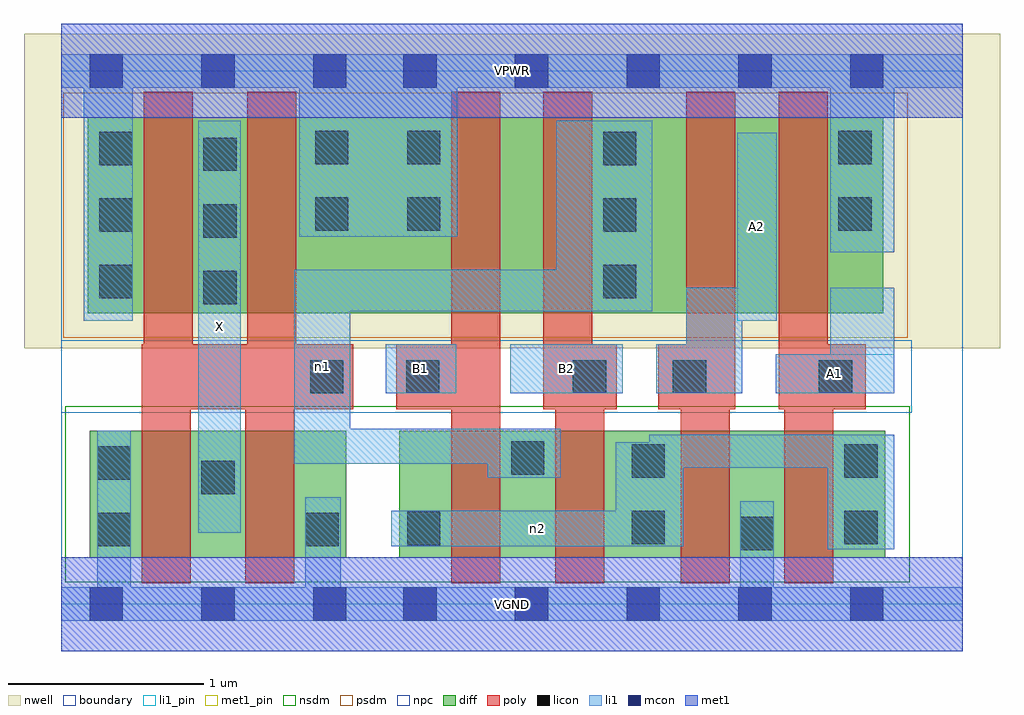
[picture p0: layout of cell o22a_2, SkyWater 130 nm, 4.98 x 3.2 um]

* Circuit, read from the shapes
.subckt o22a_2 A1 A2 B1 B2 VGND VPWR X n1 n2
XM1 X n1 VGND VSUBS sky130_fd_pr__nfet_01v8 w=0.65 l=0.25 m=2
XM2 n1 B1 n2 VSUBS sky130_fd_pr__nfet_01v8 w=0.65 l=0.25
XM3 n2 B2 n1 VSUBS sky130_fd_pr__nfet_01v8 w=0.65 l=0.25
XM4 VGND A2 n2 VSUBS sky130_fd_pr__nfet_01v8 w=0.65 l=0.25
XM5 n2 A1 VGND VSUBS sky130_fd_pr__nfet_01v8 w=0.65 l=0.25
XM6 X n1 VPWR n3 sky130_fd_pr__pfet_01v8 w=1 l=0.25 m=2
XM7 n4 B1 VPWR n3 sky130_fd_pr__pfet_01v8 w=1 l=0.25
XM8 n1 B2 n4 n3 sky130_fd_pr__pfet_01v8 w=1 l=0.25
XM9 n5 A2 n1 n3 sky130_fd_pr__pfet_01v8 w=1 l=0.25
XM10 VPWR A1 n5 n3 sky130_fd_pr__pfet_01v8 w=1 l=0.25
.ends

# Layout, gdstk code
import gdstk
lib = gdstk.Library(unit=1e-6, precision=1e-09)
def R(c, l, rs):  # rectangles x0, y0, x1, y1
    for r in rs: c.add(gdstk.rectangle(r[:2], r[2:], *l))
def A(c, l, x, y, w, h, nx, ny, dx, dy):  # array of equal rectangles
    R(c, l, [(x+i*dx, y+j*dy, x+i*dx+w, y+j*dy+h) for i in range(nx) for j in range(ny)])
nwell = (64, 20)
diff = (65, 20)
poly = (66, 20)
licon = (66, 44)
li1_pin = (67, 16)
li1 = (67, 20)
mcon = (67, 44)
met1_pin = (68, 16)
met1 = (68, 20)
nsdm = (93, 44)
psdm = (94, 20)
npc = (95, 20)
boundary = (235, 4)

o22a_2 = lib.new_cell('o22a_2')
R(o22a_2, nwell, [(-0.19,1.305,4.79,2.91), (0,1.305,4.6,2.91)])
R(o22a_2, diff, [(0.145,0.235,1.455,0.885), (1.725,0.235,4.205,0.885), (0.135,1.485,4.195,2.485)])
R(o22a_2, poly, [(0.41,0.105,0.66,1.325), (0.94,0.105,1.19,1.325), (1.99,0.105,2.24,2.615), (2.52,0.105,2.77,1.325), (3.16,0.105,3.41,1.325), (3.69,0.105,3.94,1.325), (0.41,0.995,1.49,1.325), (0.42,0.995,0.67,2.615), (0.95,0.995,1.2,2.615), (1.71,0.995,2.24,1.325), (2.46,0.995,2.71,2.615), (2.46,0.995,2.835,1.325), (3.045,0.995,3.44,1.325), (3.19,0.995,3.44,2.615), (3.66,0.995,3.91,2.615), (3.66,0.995,4.105,1.325)])
A(o22a_2, licon, 0.725, 1.53, 0.17, 0.17, 1, 3, 0, 0.34)
A(o22a_2, licon, 0.195, 1.56, 0.17, 0.17, 1, 3, 0, 0.34)
A(o22a_2, licon, 2.765, 1.56, 0.17, 0.17, 1, 3, 0, 0.34)
R(o22a_2, licon, [(3.465,0.275,3.635,0.445), (0.185,0.295,0.355,0.465), (1.245,0.295,1.415,0.465), (1.765,0.3,1.935,0.47), (2.91,0.305,3.08,0.475), (3.995,0.305,4.165,0.475), (0.715,0.56,0.885,0.73), (0.185,0.635,0.355,0.805), (2.91,0.645,3.08,0.815), (3.995,0.645,4.165,0.815), (2.295,0.66,2.465,0.83), (1.27,1.075,1.44,1.245), (1.76,1.075,1.93,1.245), (2.61,1.075,2.78,1.245), (3.12,1.075,3.29,1.245), (3.865,1.075,4.035,1.245), (1.295,1.905,1.465,2.075), (1.765,1.905,1.935,2.075), (3.965,1.905,4.135,2.075), (1.295,2.245,1.465,2.415), (1.765,2.245,1.935,2.415), (3.965,2.245,4.135,2.415)])
R(o22a_2, li1_pin, [(0.7,0.365,0.915,2.465), (1.655,1.075,2.015,1.325), (2.29,1.075,2.865,1.325), (3.645,1.075,4.25,1.275), (3.45,1.445,3.65,2.405)])
R(o22a_2, li1, [(0,-0.085,4.6,0.085), (0.185,-0.085,0.355,0.885), (1.245,-0.085,1.425,0.545), (3.465,-0.085,3.635,0.525), (3.91,0.28,4.25,0.865), (1.685,0.295,3.175,0.475), (2.83,0.295,3.175,0.825), (0.7,0.365,0.915,2.465), (2.175,0.645,2.55,0.895), (3,0.695,4.25,0.865), (1.19,0.715,1.475,1.705), (1.19,0.715,2.55,0.895), (1.655,1.075,2.015,1.325), (2.29,1.075,2.865,1.325), (3.035,1.075,3.475,1.325), (3.19,1.075,3.475,1.615), (3.645,1.075,4.25,1.275), (3.925,1.075,4.25,1.615), (0.115,1.445,0.365,2.805), (3.45,1.445,3.65,2.405), (1.19,1.495,3.015,1.705), (2.525,1.495,3.015,2.465), (3.925,1.795,4.25,2.805), (1.215,1.875,2.02,2.805), (0,2.635,4.6,2.805)])
A(o22a_2, mcon, 0.145, -0.085, 0.17, 0.17, 3, 2, 0.57, 2.72)
A(o22a_2, mcon, 1.745, -0.085, 0.17, 0.17, 5, 2, 0.57, 2.72)
R(o22a_2, met1_pin, [(0,-0.24,4.6,0.24), (0,2.48,4.6,2.96)])
R(o22a_2, met1, [(0,-0.24,4.6,0.24), (0,2.48,4.6,2.96)])
R(o22a_2, nsdm, [(0.02,0.11,4.33,1.01)])
R(o22a_2, psdm, [(0.01,1.36,4.32,2.61)])
R(o22a_2, npc, [(0,0.975,4.34,1.345)])
R(o22a_2, boundary, [(0,0,4.6,2.72)])
o22a_2.add(gdstk.Label('A1', (3.947,1.175), layer=67, texttype=5))
o22a_2.add(gdstk.Label('A2', (3.55,1.925), layer=67, texttype=5))
o22a_2.add(gdstk.Label('B1', (1.835,1.2), layer=67, texttype=5))
o22a_2.add(gdstk.Label('B2', (2.577,1.2), layer=67, texttype=5))
o22a_2.add(gdstk.Label('X', (0.807,1.415), layer=67, texttype=5))
o22a_2.add(gdstk.Label('n2', (2.43,0.385), layer=67, texttype=5))
o22a_2.add(gdstk.Label('n1', (1.332,1.21), layer=67, texttype=5))
o22a_2.add(gdstk.Label('VPWR', (2.3,2.72), layer=68, texttype=5))
o22a_2.add(gdstk.Label('VGND', (2.3,0), layer=68, texttype=5))
o22a_2.add(gdstk.Label('A1', (3.947,1.175), layer=67, texttype=16))
o22a_2.add(gdstk.Label('A2', (3.55,1.925), layer=67, texttype=16))
o22a_2.add(gdstk.Label('B1', (1.835,1.2), layer=67, texttype=16))
o22a_2.add(gdstk.Label('B2', (2.577,1.2), layer=67, texttype=16))
o22a_2.add(gdstk.Label('X', (0.807,1.415), layer=67, texttype=16))
o22a_2.add(gdstk.Label('VPWR', (2.3,2.72), layer=68, texttype=16))
o22a_2.add(gdstk.Label('VGND', (2.3,0), layer=68, texttype=16))

lib.write_gds('o22a_2.gds')
